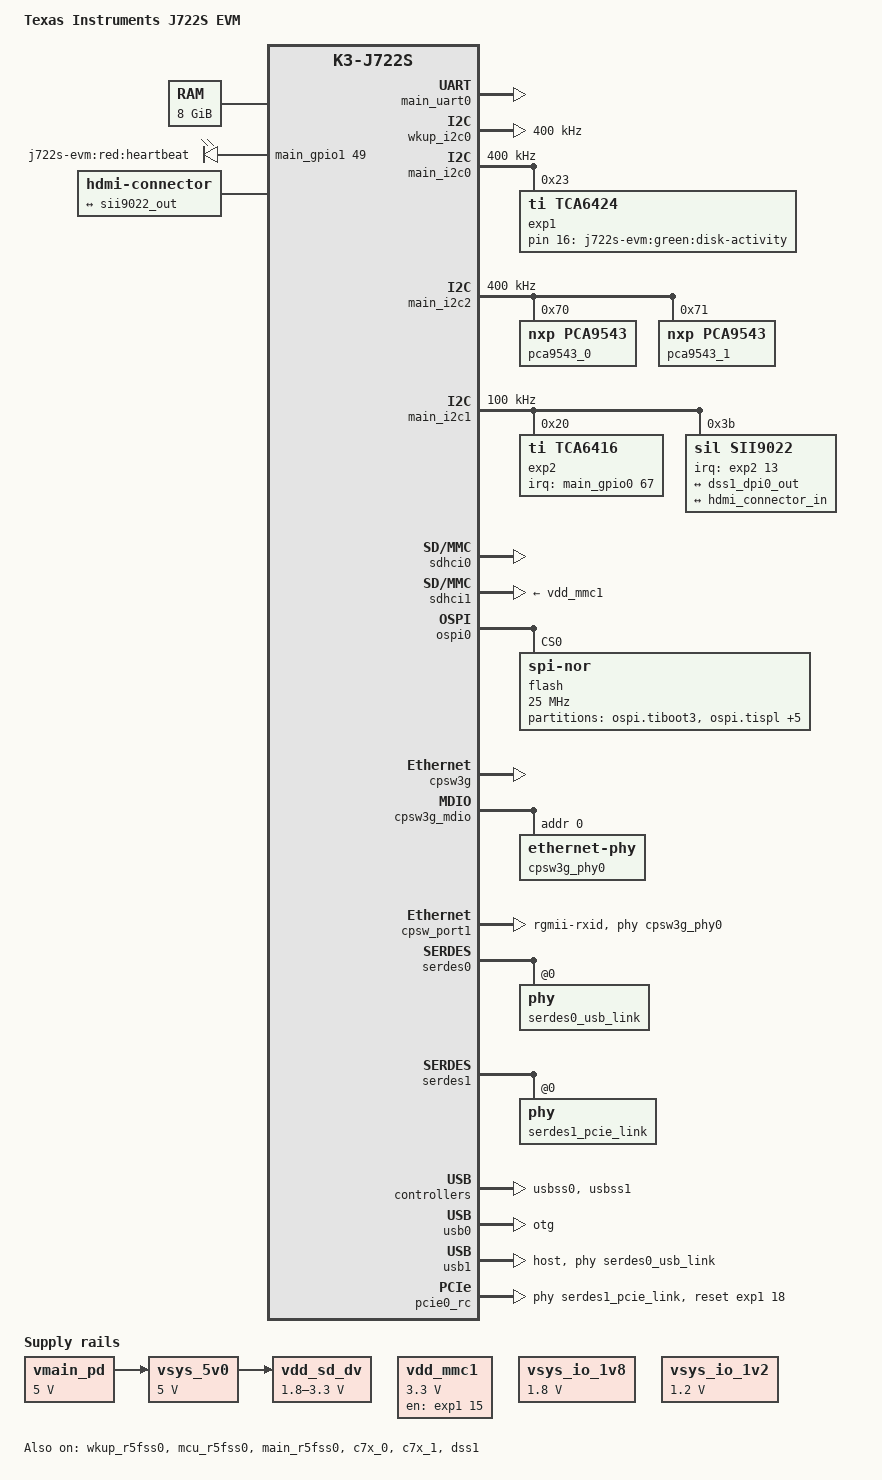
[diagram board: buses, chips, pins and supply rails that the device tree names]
// SPDX-License-Identifier: GPL-2.0
/*
 * Device Tree file for the J722S-EVM
 * Copyright (C) 2023 Texas Instruments Incorporated - https://www.ti.com/
 *
 * Schematics: https://www.ti.com/lit/zip/sprr495
 */

/dts-v1/;

#include <dt-bindings/leds/common.h>
#include "k3-j722s.dtsi"
#include <dt-bindings/gpio/gpio.h>
#include <dt-bindings/net/ti-dp83867.h>
#include <dt-bindings/mux/ti-serdes.h>
#include <dt-bindings/phy/phy.h>

/ {
	compatible = "ti,j722s-evm", "ti,j722s";
	model = "Texas Instruments J722S EVM";

	aliases {
		serial0 = &wkup_uart0;
		serial2 = &main_uart0;
		mmc0 = &sdhci0;
		mmc1 = &sdhci1;
		usb0 = &usb0;
		usb1 = &usb1;
	};

	chosen {
		stdout-path = &main_uart0;
	};

	memory@80000000 {
		/* 8G RAM */
		reg = <0x00000000 0x80000000 0x00000000 0x80000000>,
		      <0x00000008 0x80000000 0x00000001 0x80000000>;
		device_type = "memory";
		bootph-pre-ram;
	};

	reserved_memory: reserved-memory {
		#address-cells = <2>;
		#size-cells = <2>;
		ranges;

		/* global cma region */
		linux,cma {
			compatible = "shared-dma-pool";
			reusable;
			size = <0x00 0x38000000>;
			linux,cma-default;
		};

		secure_tfa_ddr: tfa@9e780000 {
			reg = <0x00 0x9e780000 0x00 0x80000>;
			no-map;
		};

		secure_ddr: optee@9e800000 {
			reg = <0x00 0x9e800000 0x00 0x01800000>;
			no-map;
		};

		wkup_r5fss0_core0_dma_memory_region: r5f-dma-memory@a0000000 {
			compatible = "shared-dma-pool";
			reg = <0x00 0xa0000000 0x00 0x100000>;
			no-map;
		};

		wkup_r5fss0_core0_memory_region: r5f-memory@a0100000 {
			compatible = "shared-dma-pool";
			reg = <0x00 0xa0100000 0x00 0xf00000>;
			no-map;
		};

		mcu_r5fss0_core0_dma_memory_region: mcu-r5fss-dma-memory-region@a1000000 {
			compatible = "shared-dma-pool";
			reg = <0x00 0xa1000000 0x00 0x100000>;
			no-map;
		};

		mcu_r5fss0_core0_memory_region: mcu-r5fss-memory-region@a1100000 {
			compatible = "shared-dma-pool";
			reg = <0x00 0xa1100000 0x00 0xf00000>;
			no-map;
		};

		main_r5fss0_core0_dma_memory_region: main-r5fss-dma-memory-region@a2000000 {
			compatible = "shared-dma-pool";
			reg = <0x00 0xa2000000 0x00 0x100000>;
			no-map;
		};

		main_r5fss0_core0_memory_region: main-r5fss-memory-region@a2100000 {
			compatible = "shared-dma-pool";
			reg = <0x00 0xa2100000 0x00 0xf00000>;
			no-map;
		};

		c7x_0_dma_memory_region: c7x-dma-memory@a3000000 {
			compatible = "shared-dma-pool";
			reg = <0x00 0xa3000000 0x00 0x100000>;
			no-map;
		};

		c7x_0_memory_region: c7x-memory@a3100000 {
			compatible = "shared-dma-pool";
			reg = <0x00 0xa3100000 0x00 0xf00000>;
			no-map;
		};

		c7x_1_dma_memory_region: c7x-dma-memory@a4000000 {
			compatible = "shared-dma-pool";
			reg = <0x00 0xa4000000 0x00 0x100000>;
			no-map;
		};

		c7x_1_memory_region: c7x-memory@a4100000 {
			compatible = "shared-dma-pool";
			reg = <0x00 0xa4100000 0x00 0xf00000>;
			no-map;
		};

		rtos_ipc_memory_region: ipc-memories@a5000000 {
			reg = <0x00 0xa5000000 0x00 0x1c00000>;
			alignment = <0x1000>;
			no-map;
		};
	};

	vmain_pd: regulator-0 {
		/* TPS65988 PD CONTROLLER OUTPUT */
		compatible = "regulator-fixed";
		regulator-name = "vmain_pd";
		regulator-min-microvolt = <5000000>;
		regulator-max-microvolt = <5000000>;
		regulator-always-on;
		regulator-boot-on;
		bootph-all;
	};

	vsys_5v0: regulator-vsys5v0 {
		/* Output of LM5140 */
		compatible = "regulator-fixed";
		regulator-name = "vsys_5v0";
		regulator-min-microvolt = <5000000>;
		regulator-max-microvolt = <5000000>;
		vin-supply = <&vmain_pd>;
		regulator-always-on;
		regulator-boot-on;
	};

	vdd_mmc1: regulator-mmc1 {
		/* TPS22918DBVR */
		compatible = "regulator-fixed";
		regulator-name = "vdd_mmc1";
		regulator-min-microvolt = <3300000>;
		regulator-max-microvolt = <3300000>;
		regulator-boot-on;
		enable-active-high;
		gpio = <&exp1 15 GPIO_ACTIVE_HIGH>;
		bootph-all;
	};

	vdd_sd_dv: regulator-TLV71033 {
		compatible = "regulator-gpio";
		regulator-name = "tlv71033";
		pinctrl-names = "default";
		pinctrl-0 = <&vdd_sd_dv_pins_default>;
		regulator-min-microvolt = <1800000>;
		regulator-max-microvolt = <3300000>;
		regulator-boot-on;
		vin-supply = <&vsys_5v0>;
		gpios = <&main_gpio0 70 GPIO_ACTIVE_HIGH>;
		states = <1800000 0x0>,
			 <3300000 0x1>;
	};

	vsys_io_1v8: regulator-vsys-io-1v8 {
		compatible = "regulator-fixed";
		regulator-name = "vsys_io_1v8";
		regulator-min-microvolt = <1800000>;
		regulator-max-microvolt = <1800000>;
		regulator-always-on;
		regulator-boot-on;
	};

	vsys_io_1v2: regulator-vsys-io-1v2 {
		compatible = "regulator-fixed";
		regulator-name = "vsys_io_1v2";
		regulator-min-microvolt = <1200000>;
		regulator-max-microvolt = <1200000>;
		regulator-always-on;
		regulator-boot-on;
	};

	leds {
		compatible = "gpio-leds";
		pinctrl-names = "default";
		pinctrl-0 = <&led_pins_default>;

		led-0 {
			label = "j722s-evm:red:heartbeat";
			gpios = <&main_gpio1 49 GPIO_ACTIVE_HIGH>;
			function = LED_FUNCTION_HEARTBEAT;
			linux,default-trigger = "heartbeat";
		};

		led-1 {
			label = "j722s-evm:green:disk-activity";
			gpios = <&exp1 16 GPIO_ACTIVE_HIGH>;
			function = LED_FUNCTION_DISK_ACTIVITY;
			linux,default-trigger = "mmc1";
			default-state = "off";
		};
	};

	hdmi0: connector-hdmi {
		compatible = "hdmi-connector";
		label = "hdmi";
		type = "a";
		port {
			hdmi_connector_in: endpoint {
				remote-endpoint = <&sii9022_out>;
			};
		};
	};
};

&main_pmx0 {

	main_i2c0_pins_default: main-i2c0-default-pins {
		pinctrl-single,pins = <
			J722S_IOPAD(0x01e0, PIN_INPUT_PULLUP, 0) /* (D23) I2C0_SCL */
			J722S_IOPAD(0x01e4, PIN_INPUT_PULLUP, 0) /* (B22) I2C0_SDA */
		>;
		bootph-all;
	};

	main_i2c1_pins_default: main-i2c1-default-pins {
		pinctrl-single,pins = <
			J722S_IOPAD(0x01e8, PIN_INPUT_PULLUP, 0) /* (C24) I2C1_SCL */
			J722S_IOPAD(0x01ec, PIN_INPUT_PULLUP, 0) /* (A22) I2C1_SDA */
		>;
		bootph-all;
	};

	main_uart0_pins_default: main-uart0-default-pins {
		pinctrl-single,pins = <
			J722S_IOPAD(0x01c8, PIN_INPUT, 0)	/* (F19) UART0_RXD */
			J722S_IOPAD(0x01cc, PIN_OUTPUT, 0)	/* (F20) UART0_TXD */
			J722S_IOPAD(0x01d4, PIN_OUTPUT, 0)	/* (B21) UART0_RTSn */
			J722S_IOPAD(0x01d0, PIN_INPUT, 0)	/* (E22) UART0_CTSn */
		>;
		bootph-all;
	};

	vdd_sd_dv_pins_default: vdd-sd-dv-default-pins {
		pinctrl-single,pins = <
			J722S_IOPAD(0x0120, PIN_INPUT, 7) /* (F27) MMC2_CMD.GPIO0_70 */
		>;
		bootph-all;
	};

	main_mmc1_pins_default: main-mmc1-default-pins {
		pinctrl-single,pins = <
			J722S_IOPAD(0x023c, PIN_INPUT, 0) /* (H22) MMC1_CMD */
			J722S_IOPAD(0x0234, PIN_OUTPUT, 0) /* (H24) MMC1_CLK */
			J722S_IOPAD(0x0230, PIN_INPUT, 0) /* (H23) MMC1_DAT0 */
			J722S_IOPAD(0x022c, PIN_INPUT_PULLUP, 0) /* (H20) MMC1_DAT1 */
			J722S_IOPAD(0x0228, PIN_INPUT_PULLUP, 0) /* (J23) MMC1_DAT2 */
			J722S_IOPAD(0x0224, PIN_INPUT_PULLUP, 0) /* (H25) MMC1_DAT3 */
			J722S_IOPAD(0x0240, PIN_INPUT, 0) /* (B24) MMC1_SDCD */
		>;
		bootph-all;
	};

	ospi0_pins_default: ospi0-default-pins {
		pinctrl-single,pins = <
			J722S_IOPAD(0x0000, PIN_OUTPUT, 0) /* (P23) OSPI0_CLK */
			J722S_IOPAD(0x002c, PIN_OUTPUT, 0) /* (M25) OSPI0_CSn0 */
			J722S_IOPAD(0x000c, PIN_INPUT, 0) /* (L25) OSPI0_D0 */
			J722S_IOPAD(0x0010, PIN_INPUT, 0) /* (N24) OSPI0_D1 */
			J722S_IOPAD(0x0014, PIN_INPUT, 0) /* (N25) OSPI0_D2 */
			J722S_IOPAD(0x0018, PIN_INPUT, 0) /* (M24) OSPI0_D3 */
			J722S_IOPAD(0x001c, PIN_INPUT, 0) /* (N21) OSPI0_D4 */
			J722S_IOPAD(0x0020, PIN_INPUT, 0) /* (N22) OSPI0_D5 */
			J722S_IOPAD(0x0024, PIN_INPUT, 0) /* (P21) OSPI0_D6 */
			J722S_IOPAD(0x0028, PIN_INPUT, 0) /* (N20) OSPI0_D7 */
			J722S_IOPAD(0x0008, PIN_INPUT, 0) /* (P22) OSPI0_DQS */
		>;
		bootph-all;
	};

	main_i2c2_pins_default: main-i2c2-default-pins {
		pinctrl-single,pins = <
			J722S_IOPAD(0x00b0, PIN_INPUT_PULLUP, 1) /* (P22) GPMC0_CSn2.I2C2_SCL */
			J722S_IOPAD(0x00b4, PIN_INPUT_PULLUP, 1) /* (P23) GPMC0_CSn3.I2C2_SDA */
		>;
	};

	mdio_pins_default: mdio-default-pins {
		pinctrl-single,pins = <
			J722S_IOPAD(0x0160, PIN_OUTPUT, 0) /* (AC24) MDIO0_MDC */
			J722S_IOPAD(0x015c, PIN_INPUT, 0) /* (AD25) MDIO0_MDIO */
		>;
	};

	rgmii1_pins_default: rgmii1-default-pins {
		pinctrl-single,pins = <
			J722S_IOPAD(0x014c, PIN_INPUT, 0) /* (AC25) RGMII1_RD0 */
			J722S_IOPAD(0x0150, PIN_INPUT, 0) /* (AD27) RGMII1_RD1 */
			J722S_IOPAD(0x0154, PIN_INPUT, 0) /* (AE24) RGMII1_RD2 */
			J722S_IOPAD(0x0158, PIN_INPUT, 0) /* (AE26) RGMII1_RD3 */
			J722S_IOPAD(0x0148, PIN_INPUT, 0) /* (AE27) RGMII1_RXC */
			J722S_IOPAD(0x0144, PIN_INPUT, 0) /* (AD23) RGMII1_RX_CTL */
			J722S_IOPAD(0x0134, PIN_OUTPUT, 0) /* (AF27) RGMII1_TD0 */
			J722S_IOPAD(0x0138, PIN_OUTPUT, 0) /* (AE23) RGMII1_TD1 */
			J722S_IOPAD(0x013c, PIN_OUTPUT, 0) /* (AG25) RGMII1_TD2 */
			J722S_IOPAD(0x0140, PIN_OUTPUT, 0) /* (AF24) RGMII1_TD3 */
			J722S_IOPAD(0x0130, PIN_OUTPUT, 0) /* (AG26) RGMII1_TXC */
			J722S_IOPAD(0x012c, PIN_OUTPUT, 0) /* (AF25) RGMII1_TX_CTL */
		>;
	};

	led_pins_default: led-default-pins {
		pinctrl-single,pins = <
			J722S_IOPAD(0x0244, PIN_INPUT, 7) /* (A24) MMC1_SDWP */
		>;
	};

	main_usb1_pins_default: main-usb1-default-pins {
		pinctrl-single,pins = <
			J722S_IOPAD(0x0258, PIN_INPUT, 0) /* (B27) USB1_DRVVBUS */
		>;
	};

	main_gpio0_ioexp_intr_pins_default: main-gpio0-ioexp-intr-default-pins {
		pinctrl-single,pins = <
			J722S_IOPAD(0x0110, PIN_INPUT, 7) /* (G27) MMC2_DAT1.GPIO0_67 */
		>;
	};

	main_dpi_pins_default: main-dpi-default-pins {
		pinctrl-single,pins = <
			J722S_IOPAD(0x0100, PIN_OUTPUT, 0) /* (AB23) VOUT0_VSYNC */
			J722S_IOPAD(0x00f8, PIN_OUTPUT, 0) /* (AB24) VOUT0_HSYNC */
			J722S_IOPAD(0x0104, PIN_OUTPUT, 0) /* (AC26) VOUT0_PCLK */
			J722S_IOPAD(0x00fc, PIN_OUTPUT, 0) /* (AC27) VOUT0_DE */
			J722S_IOPAD(0x00b8, PIN_OUTPUT, 0) /* (W27) VOUT0_DATA0 */
			J722S_IOPAD(0x00bc, PIN_OUTPUT, 0) /* (W25) VOUT0_DATA1 */
			J722S_IOPAD(0x00c0, PIN_OUTPUT, 0) /* (W24) VOUT0_DATA2 */
			J722S_IOPAD(0x00c4, PIN_OUTPUT, 0) /* (W23) VOUT0_DATA3 */
			J722S_IOPAD(0x00c8, PIN_OUTPUT, 0) /* (W22) VOUT0_DATA4 */
			J722S_IOPAD(0x00cc, PIN_OUTPUT, 0) /* (W21) VOUT0_DATA5 */
			J722S_IOPAD(0x00d0, PIN_OUTPUT, 0) /* (Y26) VOUT0_DATA6 */
			J722S_IOPAD(0x00d4, PIN_OUTPUT, 0) /* (Y27) VOUT0_DATA7 */
			J722S_IOPAD(0x00d8, PIN_OUTPUT, 0) /* (AA24) VOUT0_DATA8 */
			J722S_IOPAD(0x00dc, PIN_OUTPUT, 0) /* (AA27) VOUT0_DATA9 */
			J722S_IOPAD(0x00e0, PIN_OUTPUT, 0) /* (AA25) VOUT0_DATA10 */
			J722S_IOPAD(0x00e4, PIN_OUTPUT, 0) /* (AB25) VOUT0_DATA11 */
			J722S_IOPAD(0x00e8, PIN_OUTPUT, 0) /* (AA23) VOUT0_DATA12 */
			J722S_IOPAD(0x00ec, PIN_OUTPUT, 0) /* (AA22) VOUT0_DATA13 */
			J722S_IOPAD(0x00f0, PIN_OUTPUT, 0) /* (AB26) VOUT0_DATA14 */
			J722S_IOPAD(0x00f4, PIN_OUTPUT, 0) /* (AB27) VOUT0_DATA15 */
			J722S_IOPAD(0x005c, PIN_OUTPUT, 1) /* (U27) GPMC0_AD8.VOUT0_DATA16 */
			J722S_IOPAD(0x0060, PIN_OUTPUT, 1) /* (U26) GPMC0_AD9.VOUT0_DATA17 */
			J722S_IOPAD(0x0064, PIN_OUTPUT, 1) /* (V27) GPMC0_AD10.VOUT0_DATA18 */
			J722S_IOPAD(0x0068, PIN_OUTPUT, 1) /* (V25) GPMC0_AD11.VOUT0_DATA19 */
			J722S_IOPAD(0x006c, PIN_OUTPUT, 1) /* (V26) GPMC0_AD12.VOUT0_DATA20 */
			J722S_IOPAD(0x0070, PIN_OUTPUT, 1) /* (V24) GPMC0_AD13.VOUT0_DATA21 */
			J722S_IOPAD(0x0074, PIN_OUTPUT, 1) /* (V22) GPMC0_AD14.VOUT0_DATA22 */
			J722S_IOPAD(0x0078, PIN_OUTPUT, 1) /* (V23) GPMC0_AD15.VOUT0_DATA23 */
			J722S_IOPAD(0x009c, PIN_OUTPUT, 1) /* (W26) GPMC0_WAIT1.VOUT0_EXTPCLKIN */
		>;
	};
};

&main_gpio1 {
	status = "okay";
};

&main_uart0 {
	pinctrl-names = "default";
	pinctrl-0 = <&main_uart0_pins_default>;
	status = "okay";
	bootph-all;
};

&mcu_pmx0 {

	wkup_uart0_pins_default: wkup-uart0-default-pins {
		pinctrl-single,pins = <
			J722S_MCU_IOPAD(0x02c, PIN_INPUT, 0)	/* (C7) WKUP_UART0_CTSn */
			J722S_MCU_IOPAD(0x030, PIN_OUTPUT, 0)	/* (C6) WKUP_UART0_RTSn */
			J722S_MCU_IOPAD(0x024, PIN_INPUT, 0)	/* (D8) WKUP_UART0_RXD */
			J722S_MCU_IOPAD(0x028, PIN_OUTPUT, 0)	/* (D7) WKUP_UART0_TXD */
		>;
		bootph-all;
	};

	wkup_i2c0_pins_default: wkup-i2c0-default-pins {
		pinctrl-single,pins = <
			J722S_MCU_IOPAD(0x04c, PIN_INPUT_PULLUP, 0)	/* (C7) WKUP_I2C0_SCL */
			J722S_MCU_IOPAD(0x050, PIN_INPUT_PULLUP, 0)	/* (C6) WKUP_I2C1_SDA */
		>;
		bootph-all;
	};
};

&wkup_uart0 {
	/* WKUP UART0 is used by DM firmware */
	pinctrl-names = "default";
	pinctrl-0 = <&wkup_uart0_pins_default>;
	status = "reserved";
	bootph-all;
};

&wkup_i2c0 {
	status = "okay";
	pinctrl-names = "default";
	pinctrl-0 = <&wkup_i2c0_pins_default>;
	clock-frequency = <400000>;
	bootph-all;
};

&main_i2c0 {
	status = "okay";
	pinctrl-names = "default";
	pinctrl-0 = <&main_i2c0_pins_default>;
	clock-frequency = <400000>;
	bootph-all;

	exp1: gpio@23 {
		compatible = "ti,tca6424";
		reg = <0x23>;
		gpio-controller;
		#gpio-cells = <2>;
		gpio-line-names = "TRC_MUX_SEL", "OSPI/ONAND_MUX_SEL",
				  "MCASP1_FET_SEL", "CTRL_PM_I2C_OE#",
				  "CSI_VIO_SEL", "USB2.0_MUX_SEL",
				  "CSI01_MUX_SEL_2", "CSI23_MUX_SEL_2",
				  "LMK1_OE1", "LMK1_OE0",
				  "LMK2_OE0", "LMK2_OE1",
				  "GPIO_RGMII1_RST#", "GPIO_AUD_RSTn",
				  "GPIO_eMMC_RSTn", "GPIO_uSD_PWR_EN",
				  "USER_LED2", "MCAN0_STB",
				  "PCIe0_1L_RC_RSTz", "PCIe0_1L_PRSNT#",
				  "ENET1_EXP_SPARE2", "ENET1_EXP_PWRDN",
				  "PD_I2ENET1_I2CMUX_SELC_IRQ", "ENET1_EXP_RESETZ";
		p01-hog {
			/* P01 - TRC_MUX_SEL */
			gpio-hog;
			gpios = <0 GPIO_ACTIVE_HIGH>;
			output-low;
			line-name = "TRC_MUX_SEL";
		};
	};
};

&main_i2c2 {
	status = "okay";
	pinctrl-names = "default";
	pinctrl-0 = <&main_i2c2_pins_default>;
	clock-frequency = <400000>;

	pca9543_0: i2c-mux@70 {
		compatible = "nxp,pca9543";
		#address-cells = <1>;
		#size-cells = <0>;
		reg = <0x70>;
	};

	pca9543_1: i2c-mux@71 {
		compatible = "nxp,pca9543";
		#address-cells = <1>;
		#size-cells = <0>;
		reg = <0x71>;
	};
};

&main_i2c1 {
	status = "okay";
	pinctrl-names = "default";
	pinctrl-0 = <&main_i2c1_pins_default>;
	clock-frequency = <100000>;

	exp2: gpio@20 {
		compatible = "ti,tca6416";
		reg = <0x20>;
		gpio-controller;
		#gpio-cells = <2>;
		gpio-line-names = "DSI_Mux_SEL_2", "GPIO_eDP_ENABLE",
				  "DP0_PWR_SW_EN", "GPIO_OLDI_RSTn",
				  "GPIO_HDMI_RSTn", "HDMI_LS_OE",
				  "", "",
				  "DSI_GPIO0", "DSI_GPIO1",
				  "DSI_EDID", "IO_eDP_IRQ",
				  "OLDI_INT#", "HDMI_INTn",
				  "", "";

		interrupt-parent = <&main_gpio0>;
		interrupts = <67 IRQ_TYPE_EDGE_FALLING>;
		interrupt-controller;
		#interrupt-cells = <2>;

		pinctrl-names = "default";
		pinctrl-0 = <&main_gpio0_ioexp_intr_pins_default>;
		bootph-all;

		p04-hog {
			/* P04 - GPIO_HDMI_RSTn */
			gpio-hog;
			gpios = <4 GPIO_ACTIVE_LOW>;
			output-low;
			line-name = "GPIO_HDMI_RSTn";
		};

		p03-hog {
			/* P03 - GPIO_OLDI_RSTn */
			gpio-hog;
			gpios = <3 GPIO_ACTIVE_LOW>;
			output-low;
			line-name = "GPIO_OLDI_RSTn";
		};
	};

	sii9022: bridge-hdmi@3b {
		compatible = "sil,sii9022";
		reg = <0x3b>;
		interrupt-parent = <&exp2>;
		interrupts = <13 IRQ_TYPE_EDGE_FALLING>;
		#sound-dai-cells = <0>;
		sil,i2s-data-lanes = < 0 >;

		hdmi_tx_ports: ports {
			#address-cells = <1>;
			#size-cells = <0>;

			/*
			 * HDMI can be serviced with 3 potential VPs -
			 * (DSS0 VP1 / DSS1 VP0 / DSS1 VP1).
			 * For now, we will service it with DSS1 VP0.
			 */
			port@0 {
				reg = <0>;

				sii9022_in: endpoint {
					remote-endpoint = <&dss1_dpi0_out>;
				};
			};

			port@1 {
				reg = <1>;

				sii9022_out: endpoint {
					remote-endpoint = <&hdmi_connector_in>;
				};
			};
		};
	};
};

&sdhci0 {
	/*eMMC*/
	status = "okay";
	ti,driver-strength-ohm = <50>;
	disable-wp;
	bootph-all;
};

&sdhci1 {
	/* SD/MMC */
	status = "okay";
	vmmc-supply = <&vdd_mmc1>;
	vqmmc-supply = <&vdd_sd_dv>;
	pinctrl-names = "default";
	pinctrl-0 = <&main_mmc1_pins_default>;
	ti,driver-strength-ohm = <50>;
	disable-wp;
	bootph-all;
};

&ospi0 {
	status = "okay";
	pinctrl-names = "default";
	pinctrl-0 = <&ospi0_pins_default>;
	bootph-all;

	flash@0{
		compatible = "jedec,spi-nor";
		reg = <0x0>;
		spi-tx-bus-width = <8>;
		spi-rx-bus-width = <8>;
		spi-max-frequency = <25000000>;
		cdns,tshsl-ns = <60>;
		cdns,tsd2d-ns = <60>;
		cdns,tchsh-ns = <60>;
		cdns,tslch-ns = <60>;
		cdns,read-delay = <4>;
		bootph-all;

		partitions {
			compatible = "fixed-partitions";
			#address-cells = <1>;
			#size-cells = <1>;
			bootph-all;

			partition@0 {
				label = "ospi.tiboot3";
				reg = <0x00 0x80000>;
			};

			partition@80000 {
				label = "ospi.tispl";
				reg = <0x80000 0x200000>;
			};

			partition@280000 {
				label = "ospi.u-boot";
				reg = <0x280000 0x400000>;
			};

			partition@680000 {
				label = "ospi.env";
				reg = <0x680000 0x40000>;
			};

			partition@6c0000 {
				label = "ospi.env.backup";
				reg = <0x6c0000 0x40000>;
			};

			partition@800000 {
				label = "ospi.rootfs";
				reg = <0x800000 0x37c0000>;
			};

			partition@3fc0000 {
				label = "ospi.phypattern";
				reg = <0x3fc0000 0x40000>;
				bootph-all;
			};
		};
	};

	ospi0_nand: nand@0 {
		compatible = "spi-nand";
		reg = <0x0>;
		spi-tx-bus-width = <8>;
		spi-rx-bus-width = <8>;
		spi-max-frequency = <25000000>;
		cdns,tshsl-ns = <60>;
		cdns,tsd2d-ns = <60>;
		cdns,tchsh-ns = <60>;
		cdns,tslch-ns = <60>;
		cdns,read-delay = <2>;
		#address-cells = <1>;
		#size-cells = <1>;
		status = "disabled";

		partitions {
			compatible = "fixed-partitions";
			#address-cells = <1>;
			#size-cells = <1>;

			partition@0 {
				label = "ospi_nand.tiboot3";
				reg = <0x0 0x80000>;
			};

			partition@80000 {
				label = "ospi_nand.tispl";
				reg = <0x80000 0x200000>;
			};

			partition@280000 {
				label = "ospi_nand.u-boot";
				reg = <0x280000 0x400000>;
			};

			partition@680000 {
				label = "ospi_nand.env";
				reg = <0x680000 0x40000>;
			};

			partition@6c0000 {
				label = "ospi_nand.env.backup";
				reg = <0x6c0000 0x40000>;
			};

			partition@2000000 {
				label = "ospi_nand.rootfs";
				reg = <0x2000000 0x5fc0000>;
			};

			partition@7fc0000 {
				label = "ospi_nand.phypattern";
				reg = <0x7fc0000 0x40000>;
			};
		};
	};
};

&cpsw3g {
	status = "okay";
	pinctrl-names = "default";
	pinctrl-0 = <&rgmii1_pins_default>;
};

&cpsw3g_mdio {
	status = "okay";
	pinctrl-names = "default";
	pinctrl-0 = <&mdio_pins_default>;

	cpsw3g_phy0: ethernet-phy@0 {
		reg = <0>;
		ti,rx-internal-delay = <DP83867_RGMIIDCTL_2_00_NS>;
		ti,fifo-depth = <DP83867_PHYCR_FIFO_DEPTH_4_B_NIB>;
		ti,min-output-impedance;
	};
};

&cpsw_port1 {
	phy-mode = "rgmii-rxid";
	phy-handle = <&cpsw3g_phy0>;
};

&cpsw_port2 {
	status = "disabled";
};

&mailbox0_cluster0 {
	status = "okay";
	mbox_r5_0: mbox-r5-0 {
		ti,mbox-rx = <0 0 0>;
		ti,mbox-tx = <1 0 0>;
	};
};

&mailbox0_cluster1 {
	status = "okay";
	mbox_mcu_r5_0: mbox-mcu-r5-0 {
		ti,mbox-rx = <0 0 0>;
		ti,mbox-tx = <1 0 0>;
	};
};

&mailbox0_cluster2 {
	status = "okay";
	mbox_c7x_0: mbox-c7x-0 {
		ti,mbox-rx = <0 0 0>;
		ti,mbox-tx = <1 0 0>;
	};
};

&mailbox0_cluster3 {
	status = "okay";
	mbox_main_r5_0: mbox-main-r5-0 {
		ti,mbox-rx = <0 0 0>;
		ti,mbox-tx = <1 0 0>;
	};

	mbox_c7x_1: mbox-c7x-1 {
		ti,mbox-rx = <2 0 0>;
		ti,mbox-tx = <3 0 0>;
	};
};

&wkup_r5fss0 {
	status = "okay";
};

&wkup_r5fss0_core0 {
	mboxes = <&mailbox0_cluster0 &mbox_r5_0>;
	memory-region = <&wkup_r5fss0_core0_dma_memory_region>,
			<&wkup_r5fss0_core0_memory_region>;
};

&mcu_r5fss0 {
	status = "okay";
};

&mcu_r5fss0_core0 {
	mboxes = <&mailbox0_cluster1 &mbox_mcu_r5_0>;
	memory-region = <&mcu_r5fss0_core0_dma_memory_region>,
			<&mcu_r5fss0_core0_memory_region>;
};

&main_r5fss0 {
	status = "okay";
};

&main_r5fss0_core0 {
	mboxes = <&mailbox0_cluster3 &mbox_main_r5_0>;
	memory-region = <&main_r5fss0_core0_dma_memory_region>,
			<&main_r5fss0_core0_memory_region>;
};

&c7x_0 {
	status = "okay";
	mboxes = <&mailbox0_cluster2 &mbox_c7x_0>;
	memory-region = <&c7x_0_dma_memory_region>,
			<&c7x_0_memory_region>;
};

&c7x_1 {
	status = "okay";
	mboxes = <&mailbox0_cluster3 &mbox_c7x_1>;
	memory-region = <&c7x_1_dma_memory_region>,
			<&c7x_1_memory_region>;
};

&serdes_ln_ctrl {
	idle-states = <J722S_SERDES0_LANE0_USB>,
		      <J722S_SERDES1_LANE0_PCIE0_LANE0>;
};

&serdes0 {
	status = "okay";
	serdes0_usb_link: phy@0 {
		reg = <0>;
		cdns,num-lanes = <1>;
		#phy-cells = <0>;
		cdns,phy-type = <PHY_TYPE_USB3>;
		resets = <&serdes_wiz0 1>;
	};
};

&serdes1 {
	serdes1_pcie_link: phy@0 {
		reg = <0>;
		cdns,num-lanes = <1>;
		#phy-cells = <0>;
		cdns,phy-type = <PHY_TYPE_PCIE>;
		resets = <&serdes_wiz1 1>;
	};
};

&usbss0 {
	status = "okay";
	ti,vbus-divider;
};

&usb0 {
	dr_mode = "otg";
	usb-role-switch;
};

&usbss1 {
	status = "okay";
	pinctrl-names = "default";
	pinctrl-0 = <&main_usb1_pins_default>;
	ti,vbus-divider;
};

&usb1 {
	dr_mode = "host";
	maximum-speed = "super-speed";
	phys = <&serdes0_usb_link>;
	phy-names = "cdns3,usb3-phy";
};

&pcie0_rc {
	status = "okay";
	reset-gpios = <&exp1 18 GPIO_ACTIVE_HIGH>;
	phys = <&serdes1_pcie_link>;
	phy-names = "pcie-phy";
};

&dss1 {
	status = "okay";
	pinctrl-names = "default";
	pinctrl-0 = <&main_dpi_pins_default>;

	assigned-clocks = <&k3_clks 241 0>,	/* DSS1-VP0 */
			  <&k3_clks 240 0>,	/* DSS1-VP1 */
			  <&k3_clks 245 0>;	/* DPI Output */

	assigned-clock-parents = <&k3_clks 241 2>,	/* PLL 17 HDMI */
				 <&k3_clks 240 1>,	/* PLL 18 DSI */
				 <&k3_clks 245 2>;	/* DSS1-DPI0 */
};

&dss1_ports {
	/* DSS1-VP0: DPI/HDMI Output */
	port@0 {
		reg = <0>;

		dss1_dpi0_out: endpoint {
			remote-endpoint = <&sii9022_in>;
		};
	};
};
